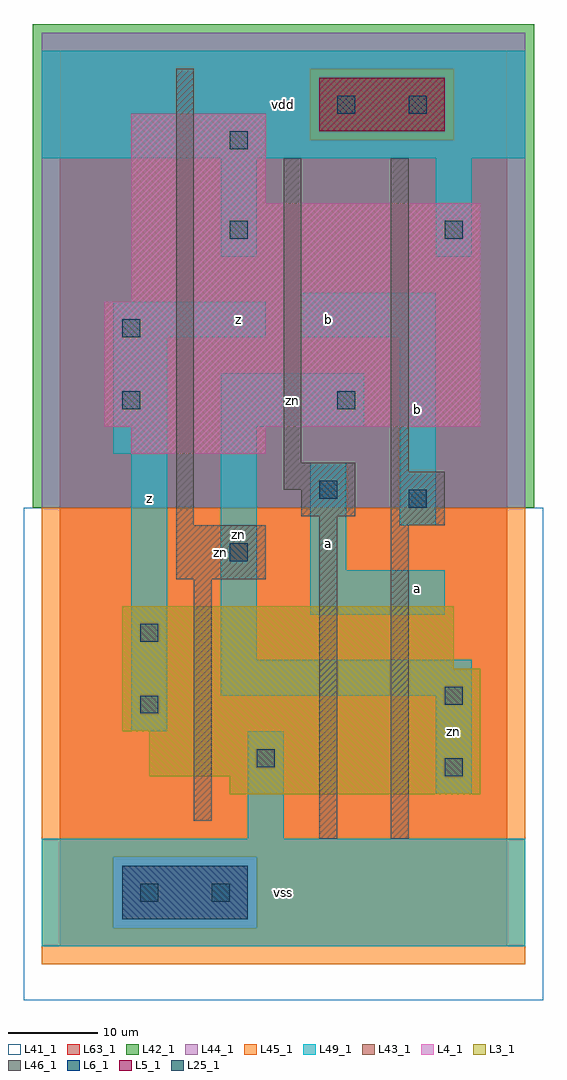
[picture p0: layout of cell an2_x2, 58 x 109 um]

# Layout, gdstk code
import gdstk
lib = gdstk.Library(unit=1e-6, precision=1e-09)
def R(c, l, rs):  # rectangles x0, y0, x1, y1
    for r in rs: c.add(gdstk.rectangle(r[:2], r[2:], *l))
L3_1 = (3, 1)
L4_1 = (4, 1)
L5_1 = (5, 1)
L6_1 = (6, 1)
L25_1 = (25, 1)
L41_1 = (41, 1)
L42_1 = (42, 1)
L43_1 = (43, 1)
L44_1 = (44, 1)
L45_1 = (45, 1)
L46_1 = (46, 1)
L49_1 = (49, 1)
L63_1 = (63, 1)

an2_x2 = lib.new_cell('an2_x2')
R(an2_x2, L3_1, [(19,17,47,19), (10,19,47,24), (7,24,47,31), (7,31,44,38)])
R(an2_x2, L4_1, [(8,55,23,58), (5,58,47,72), (8,72,47,83), (8,83,23,93)])
R(an2_x2, L5_1, [(29,91,43,97)])
R(an2_x2, L6_1, [(7,3,21,9)])
R(an2_x2, L25_1, [(9,5,11,7), (17,5,19,7), (43,19,45,21), (22,20,24,22), (9,26,11,28), (43,27,45,29), (9,34,11,36), (19,43,21,45), (39,49,41,51), (29,50,31,52), (7,60,9,62), (31,60,33,62), (7,68,9,70), (19,79,21,81), (43,79,45,81), (19,89,21,91), (31,93,33,95), (39,93,41,95)])
R(an2_x2, L41_1, [(-4,-6,54,49), (-3,-3,53,49)])
R(an2_x2, L42_1, [(-3,49,53,103)])
R(an2_x2, L43_1, [(7,3,21,9), (19,17,47,19), (10,19,47,24), (7,24,47,31), (7,31,44,38), (8,55,23,58), (5,58,47,72), (8,72,47,83), (8,83,23,93), (29,91,43,97)])
R(an2_x2, L44_1, [(6,2,22,10), (-2,49,52,90), (-2,90,28,98), (44,90,52,98), (-2,98,52,102)])
R(an2_x2, L45_1, [(-2,-2,52,2), (-2,2,6,10), (22,2,52,10), (-2,10,52,49), (28,90,44,98)])
R(an2_x2, L46_1, [(29,12,31,48), (37,12,39,47), (15,14,17,41), (13,41,23,47), (13,47,15,98), (37,47,43,53), (27,48,33,51), (25,51,33,54), (37,53,39,88), (25,54,27,88)])
R(an2_x2, L49_1, [(-2,0,52,12), (21,12,25,24), (42,17,46,28), (8,24,12,55), (18,28,46,32), (18,32,22,58), (28,37,43,42), (28,42,32,54), (38,47,42,68), (6,55,12,68), (18,58,34,64), (6,68,23,72), (27,68,42,73), (18,77,22,88), (42,77,46,88), (-2,88,52,100)])
R(an2_x2, L63_1, [(0,0,50,100)])
an2_x2.add(gdstk.Label('zn', (18,44), layer=46, texttype=1))
an2_x2.add(gdstk.Label('zn', (20,46), layer=49, texttype=1))
an2_x2.add(gdstk.Label('z', (10,50), layer=49, texttype=1))
an2_x2.add(gdstk.Label('z', (10,50), layer=49, texttype=1))
an2_x2.add(gdstk.Label('z', (20,70), layer=49, texttype=1))
an2_x2.add(gdstk.Label('z', (20,70), layer=49, texttype=1))
an2_x2.add(gdstk.Label('vss', (25,6), layer=49, texttype=1))
an2_x2.add(gdstk.Label('vss', (25,6), layer=49, texttype=1))
an2_x2.add(gdstk.Label('a', (30,45), layer=49, texttype=1))
an2_x2.add(gdstk.Label('a', (30,45), layer=49, texttype=1))
an2_x2.add(gdstk.Label('zn', (26,61), layer=49, texttype=1))
an2_x2.add(gdstk.Label('b', (30,70), layer=49, texttype=1))
an2_x2.add(gdstk.Label('b', (30,70), layer=49, texttype=1))
an2_x2.add(gdstk.Label('vdd', (25,94), layer=49, texttype=1))
an2_x2.add(gdstk.Label('vdd', (25,94), layer=49, texttype=1))
an2_x2.add(gdstk.Label('vdd', (25,94), layer=49, texttype=1))
an2_x2.add(gdstk.Label('vdd', (25,94), layer=49, texttype=1))
an2_x2.add(gdstk.Label('zn', (44,24), layer=49, texttype=1))
an2_x2.add(gdstk.Label('a', (40,40), layer=49, texttype=1))
an2_x2.add(gdstk.Label('a', (40,40), layer=49, texttype=1))
an2_x2.add(gdstk.Label('b', (40,60), layer=49, texttype=1))
an2_x2.add(gdstk.Label('b', (40,60), layer=49, texttype=1))

lib.write_gds('an2_x2.gds')
